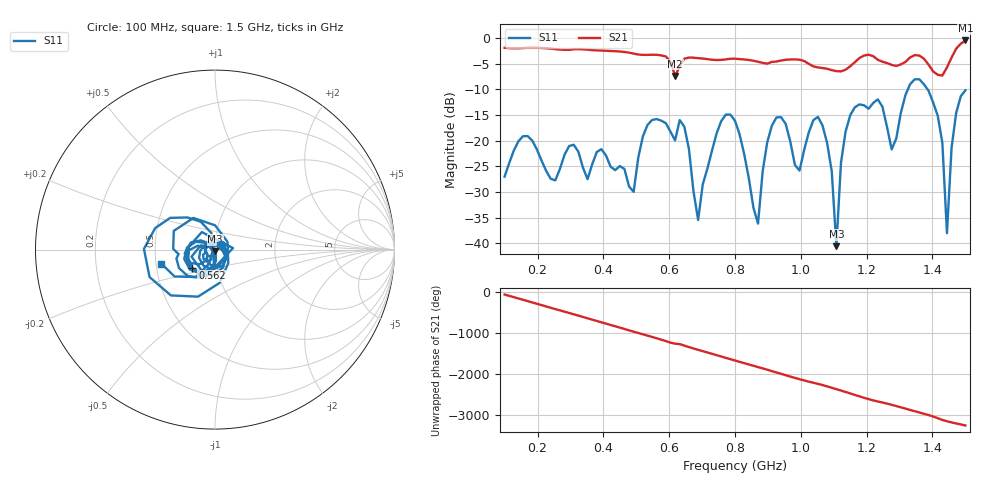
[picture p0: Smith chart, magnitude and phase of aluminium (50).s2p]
! NanoVNA-App
! Date: 2025-09-25 14:55:40
! Start: 100MHz Stop: 1,5GHz Points: 101
! S-Parameter data: F S11 S21 S12 S22
# Hz S RI R 50
!  Frequency  S11_Real  S11_Imag  S21_Real  S21_Imag  S12_Real  S12_Imag  S22_Real  S22_Imag
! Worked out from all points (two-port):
!   101 points, 100 MHz to 1.5 GHz, reference 50 ohm
!   highest |S21| = -0.49 dB at 1.5 GHz (marker M1); lowest = -7.4 dB at 618 MHz (marker M2)
!   |S21| within 3 dB of the highest: start of sweep to 581.9 MHz; 1.461 GHz to end of sweep (the widest 2 of 4)
!   lowest |S11| = -40.6 dB at 1.108 GHz (marker M3), VSWR 1.02, Z = 50.1 - j0.93 ohm
!   |S11| at or under -10 dB: start of sweep to 1.325 GHz; 1.385 GHz to end of sweep
!   S12 and S22 are empty: the file has one direction only
!   S11 on the Smith chart (normalised r, x): 100 MHz: 1.07, +0.06; 562 MHz: 0.76, -0.16; 1.5 GHz: 0.53, -0.09
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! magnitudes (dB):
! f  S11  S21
! 100 MHz  -27.0  -1.9
! 338 MHz  -25.3  -2.2
! 492 MHz  -30.0  -3.1
! 562 MHz  -15.8  -3.3
! 576 MHz  -16.1  -3.4
! 618 MHz  -19.9  -7.4
! 646 MHz  -17.3  -4.0
! 688 MHz  -35.5  -3.9
! 800 MHz  -16.1  -4.0
! 870 MHz  -36.2  -4.6
! 912 MHz  -17.1  -4.7
! 996 MHz  -25.8  -4.2
! 1.038 GHz  -16.0  -5.5
! 1.08 GHz  -20.5  -6.0
! 1.108 GHz  -40.6  -6.5
! 1.15 GHz  -15.1  -5.5
! 1.276 GHz  -21.7  -5.3
! 1.388 GHz  -10.3  -5.2
! 1.43 GHz  -20.4  -7.3
! 1.444 GHz  -38.0  -5.7
! 1.458 GHz  -21.4  -3.8
! 1.5 GHz  -10.2  -0.5
